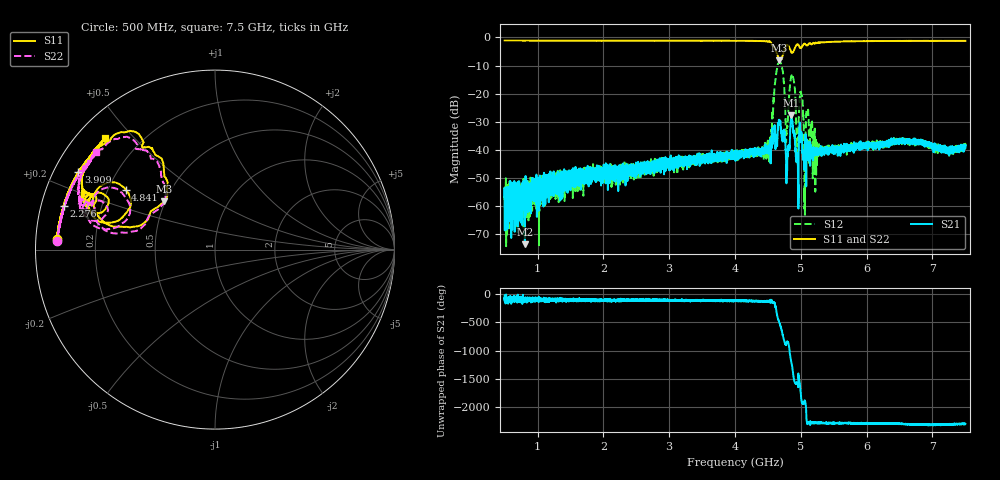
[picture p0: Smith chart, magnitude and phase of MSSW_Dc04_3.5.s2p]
!Keysight Technologies,M9374A,MY55442783,A.12.55.05
!Date: Wednesday, May 19, 2021 16:56:58
!Correction: S11(Full 2 Port(1,2))
!S21(Full 2 Port(1,2))
!S12(Full 2 Port(1,2))
!S22(Full 2 Port(1,2))
!S2P File: Measurements: S11, S21, S12, S22:
# Hz S  RI  R 50
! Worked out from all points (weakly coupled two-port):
!   7001 points, 500 MHz to 7.5 GHz, reference 50 ohm
!   highest |S21| = -27.69 dB at 4.858 GHz (marker M1); lowest = -73.8 dB at 808 MHz (marker M2)
!   lowest |S11| = -8.2 dB at 4.671 GHz (marker M3), VSWR 2.28, Z = 24.7 + j15.7 ohm
!   |S11| at or under -10 dB: nowhere
!   |S22| runs from -8.3 to -1.1 dB; largest |S21 - S12| = 0.33
!   S11 on the Smith chart (normalised r, x): 500 MHz: 0.06, +0.03; 2.276 GHz: 0.07, +0.14; 3.909 GHz: 0.07, +0.26; 4.841 GHz: 0.27, +0.28; 7.5 GHz: 0.08, +0.42
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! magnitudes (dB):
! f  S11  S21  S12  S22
! 500 MHz  -1.1  -57.1  -57.8  -1.1
! 808 MHz  -1.1  -73.8  -57.0  -1.1
! 1.667 GHz  -1.1  -48.4  -50.2  -1.2
! 2.276 GHz  -1.1  -48.0  -49.8  -1.2
! 2.834 GHz  -1.1  -46.5  -45.5  -1.2
! 3.909 GHz  -1.2  -42.3  -42.3  -1.2
! 4 GHz  -1.2  -42.2  -41.9  -1.3
! 4.511 GHz  -1.5  -40.4  -40.9  -1.5
! 4.619 GHz  -4.5  -35.6  -14.1  -4.5
! 4.671 GHz  -8.2  -30.3  -9.0  -8.3
! 4.721 GHz  -6.8  -35.3  -11.4  -6.8
! 4.785 GHz  -2.7  -47.0  -33.1  -2.8
! 4.841 GHz  -4.4  -32.4  -15.7  -4.6
! 4.858 GHz  -5.4  -27.7  -13.6  -5.6
! 4.891 GHz  -4.8  -33.5  -15.1  -4.9
! 4.944 GHz  -2.5  -41.9  -41.1  -2.5
! 5.006 GHz  -3.7  -34.9  -20.0  -3.8
! 5.049 GHz  -2.3  -43.7  -39.0  -2.3
! 5.167 GHz  -2.4  -41.2  -29.6  -2.5
! 5.252 GHz  -1.8  -41.6  -38.2  -1.9
! 6.334 GHz  -1.2  -37.7  -37.7  -1.4
! 7.5 GHz  -1.2  -38.4  -39.2  -1.3
